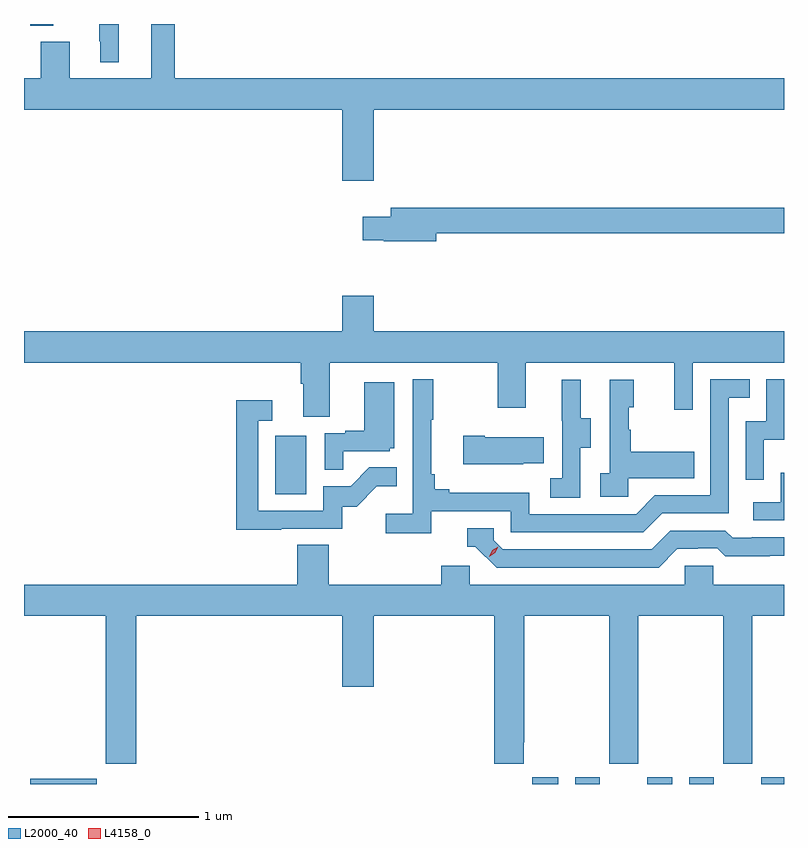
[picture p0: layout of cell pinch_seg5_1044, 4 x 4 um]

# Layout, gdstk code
import gdstk
lib = gdstk.Library(unit=1e-6, precision=1e-09)
def R(c, l, rs):  # rectangles x0, y0, x1, y1
    for r in rs: c.add(gdstk.rectangle(r[:2], r[2:], *l))
def P(c, l, *ps):  # polygons
    for p in ps: c.add(gdstk.Polygon(p, *l))
L2000_40 = (2000, 40)
L4158_0 = (4158, 0)

pinch_seg5_1044 = lib.new_cell('pinch_seg5_1044')
R(pinch_seg5_1044, L2000_40, [(822.704,867.862,823.054,867.889), (825.347,867.862,825.484,867.898), (825.572,867.862,825.703,867.898), (825.953,867.862,826.084,867.898), (826.172,867.862,826.303,867.898), (826.553,867.862,826.672,867.898), (823.994,869.388,824.158,869.695), (822.704,871.853,822.826,871.862)])
P(pinch_seg5_1044, L2000_40, [(823.171,871.862),(823.069,871.862),(823.069,871.771),(823.073,871.771),(823.073,871.661),(823.171,871.661)],
  [(824.512,871.412),(826.672,871.412),(826.672,871.576),(823.466,871.576),(823.466,871.862),(823.343,871.862),(823.343,871.576),(822.913,871.576),(822.913,871.768),(822.761,871.768),(822.761,871.576),(822.672,871.576),(822.672,871.412),(824.348,871.412),(824.348,871.038),(824.512,871.038)],
  [(824.842,870.76),(826.672,870.76),(826.672,870.896),(824.603,870.896),(824.603,870.847),(824.454,870.847),(824.454,870.725),(824.566,870.725),(824.566,870.718),(824.842,870.718)],
  [(824.281,870.08),(825.166,870.08),(825.166,869.841),(825.313,869.841),(825.313,870.08),(826.094,870.08),(826.094,869.832),(826.191,869.832),(826.191,870.08),(826.672,870.08),(826.672,870.244),(824.512,870.244),(824.512,870.433),(824.348,870.433),(824.348,870.244),(822.672,870.244),(822.672,870.08),(824.129,870.08),(824.129,869.968),(824.141,869.968),(824.141,869.794),(824.281,869.794)],
  [(824.816,869.298),(825.234,869.298),(825.234,869.187),(825.931,869.187),(826.03,869.286),(826.38,869.286),(826.38,869.895),(826.493,869.895),(826.493,869.991),(826.284,869.991),(826.284,869.382),(825.993,869.382),(825.894,869.283),(825.33,869.283),(825.33,869.395),(824.911,869.395),(824.911,869.414),(824.834,869.414),(824.834,869.491),(824.815,869.491),(824.815,869.779),(824.827,869.779),(824.827,869.992),(824.718,869.992),(824.718,869.284),(824.577,869.284),(824.577,869.182),(824.816,869.182)],
  [(826.566,869.675),(826.672,869.675),(826.672,869.991),(826.578,869.991),(826.578,869.772),(826.47,869.772),(826.47,869.463),(826.566,869.463)],
  [(825.6,869.632),(825.655,869.632),(825.655,869.787),(825.601,869.787),(825.601,869.989),(825.503,869.989),(825.503,869.775),(825.504,869.775),(825.504,869.471),(825.441,869.471),(825.441,869.368),(825.6,869.368)],
  [(825.852,869.471),(826.199,869.471),(826.199,869.611),(825.865,869.611),(825.865,869.726),(825.855,869.726),(825.855,869.844),(825.88,869.844),(825.88,869.989),(825.756,869.989),(825.756,869.498),(825.705,869.498),(825.705,869.373),(825.852,869.373)],
  [(824.351,869.613),(824.598,869.613),(824.598,869.628),(824.62,869.628),(824.62,869.977),(824.462,869.977),(824.462,869.722),(824.363,869.722),(824.363,869.709),(824.256,869.709),(824.256,869.515),(824.351,869.515)],
  [(824.027,869.205),(824.346,869.205),(824.346,869.322),(824.422,869.322),(824.529,869.429),(824.633,869.429),(824.633,869.528),(824.489,869.528),(824.391,869.43),(824.247,869.43),(824.247,869.301),(823.905,869.301),(823.905,869.775),(823.978,869.775),(823.978,869.881),(823.789,869.881),(823.789,869.2),(824.027,869.2)],
  [(825.299,869.549),(825.407,869.549),(825.407,869.686),(825.097,869.686),(825.097,869.694),(824.985,869.694),(824.985,869.546),(825.299,869.546)],
  [(826.672,869.5),(826.656,869.5),(826.656,869.346),(826.509,869.346),(826.509,869.25),(826.672,869.25)],
  [(826.111,869.1),(826.218,869.1),(826.218,869.103),(826.321,869.103),(826.363,869.061),(826.596,869.061),(826.596,869.063),(826.672,869.063),(826.672,869.16),(826.501,869.16),(826.501,869.157),(826.402,869.157),(826.363,869.196),(826.074,869.196),(825.975,869.097),(825.192,869.097),(825.144,869.145),(825.144,869.208),(825.005,869.208),(825.005,869.112),(825.048,869.112),(825.159,869.001),(826.012,869.001)],
  [(823.262,868.748),(824.348,868.748),(824.348,868.374),(824.512,868.374),(824.512,868.748),(825.146,868.748),(825.146,867.969),(825.301,867.969),(825.301,868.081),(825.306,868.081),(825.306,868.748),(825.751,868.748),(825.751,867.969),(825.906,867.969),(825.906,868.748),(826.351,868.748),(826.351,867.969),(826.506,867.969),(826.506,868.748),(826.672,868.748),(826.672,868.912),(826.299,868.912),(826.299,869.01),(826.149,869.01),(826.149,868.912),(825.018,868.912),(825.018,869.01),(824.867,869.01),(824.867,868.912),(824.276,868.912),(824.276,869.12),(824.111,869.12),(824.111,868.912),(822.672,868.912),(822.672,868.748),(823.102,868.748),(823.102,867.969),(823.262,867.969)])
P(pinch_seg5_1044, L4158_0, [(825.121,869.059),(825.121,869.059),(825.137,869.092),(825.167,869.112),(825.167,869.112),(825.167,869.111),(825.152,869.079),(825.121,869.059)])

lib.write_gds('pinch_seg5_1044.gds')
